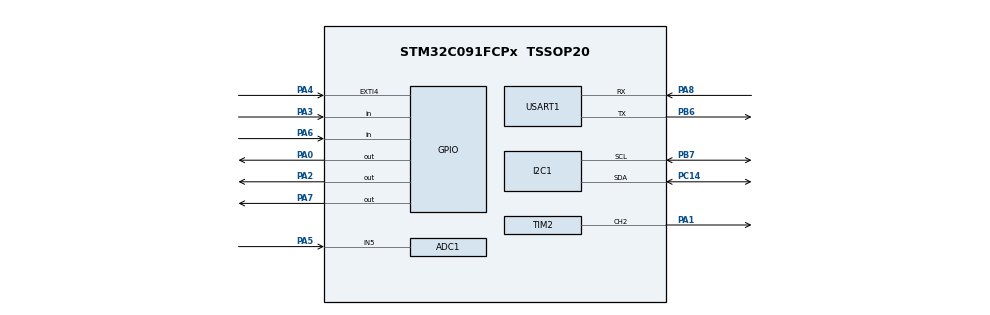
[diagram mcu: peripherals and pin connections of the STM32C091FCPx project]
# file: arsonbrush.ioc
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ADC1.NbrOfConversionFlag=0
ADC1.SelectedChannel=ADC_CHANNEL_5
ADC1.master=1
I2C1.Timing=0x00402D41
Mcu.Family=STM32C0
Mcu.Name=STM32C091FCPx
Mcu.Package=TSSOP20
PA0.Signal=GPIO_Output
PA1.Signal=S_TIM2_CH2
PA13.Mode=Serial_Wire
PA13.Signal=DEBUG_SWDIO
PA14-BOOT0.Mode=Serial_Wire
PA14-BOOT0.Signal=DEBUG_SWCLK
PA14-BOOT0__PA15.StandardMode=true
PA2.GPIO_PuPd=GPIO_PULLDOWN
PA2.Signal=GPIO_Output
PA3.Signal=GPIO_Input
PA4.Signal=GPXTI4
PA5.Mode=IN5
PA5.Signal=ADC1_IN5
PA6.Signal=GPIO_Input
PA7.Signal=GPIO_Output
PA8.Mode=Asynchronous
PA8.Signal=USART1_RX
PB0__PB1__PB2__PA8.StandardMode=true
PB3__PB4__PB5__PB6.StandardMode=true
PB6.Mode=Asynchronous
PB6.Signal=USART1_TX
PB7.Mode=I2C
PB7.Signal=I2C1_SCL
PB7__PB8.StandardMode=true
PC14-OSCX_IN(PC14).Mode=I2C
PC14-OSCX_IN(PC14).Signal=I2C1_SDA
ProjectManager.HeapSize=0x200
ProjectManager.StackSize=0x400
ProjectManager.TargetToolchain=Makefile
RCC.ADCFreq_Value=12000000
RCC.AHBFreq_Value=12000000
RCC.CortexFreq_Value=12000000
RCC.EXTERNAL_CLOCK_VALUE=12288000
RCC.HCLKFreq_Value=12000000
RCC.HSE_VALUE=8000000
RCC.HSISYSCLKDivider=RCC_HSI_DIV1
RCC.HSI_VALUE=48000000
RCC.LSE_VALUE=32768
RCC.SYSCLKFreq_VALUE=12000000
RCC.SYSDIV=RCC_SYSCLK_DIV4
SH.S_TIM2_CH2.0=TIM2_CH2,PWM Generation2 CH2
TIM2.Channel-PWM\ Generation2\ CH2=TIM_CHANNEL_2
USART1.VirtualMode-Asynchronous=VM_ASYNC
VP_FLASH_SIG_Activate_FlashIP.Mode=Activate_FlashIP
VP_TIM2_VS_ClockSourceINT.Mode=Internal
board=custom

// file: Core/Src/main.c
/* USER CODE BEGIN Header */
/**
  ******************************************************************************
  * @file           : main.c
  * @brief          : Main program body
  ******************************************************************************
  * @attention
  *
  * Copyright (c) 2025 STMicroelectronics.
  * All rights reserved.
  *
  * This software is licensed under terms that can be found in the LICENSE file
  * in the root directory of this software component.
  * If no LICENSE file comes with this software, it is provided AS-IS.
  *
  ******************************************************************************
  */
/* USER CODE END Header */
#include "main.h"

/* USER CODE BEGIN Includes */
#include <string.h>
/* USER CODE END Includes */

ADC_HandleTypeDef hadc1;

I2C_HandleTypeDef hi2c1;

TIM_HandleTypeDef htim2;

UART_HandleTypeDef huart1;

/* USER CODE BEGIN PV */
volatile uint8_t button_pressed = 0;
uint8_t system_state = 0; // 0: OFF, 1: ON
uint8_t rx_byte;
uint8_t rx_index = 0;
/* USER CODE END PV */

void SystemClock_Config(void);
static void MX_GPIO_Init(void);
static void MX_ADC1_Init(void);
static void MX_FLASH_Init(void);
static void MX_I2C1_Init(void);
static void MX_TIM2_Init(void);
static void MX_USART1_UART_Init(void);

/* USER CODE BEGIN 0 */
void HAL_GPIO_EXTI_Callback(uint16_t GPIO_Pin)
{
  if (GPIO_Pin == GPIO_PIN_4)
  {
    button_pressed = 1;
  }
}

void HAL_UART_RxCpltCallback(UART_HandleTypeDef *huart)
{
  if (huart->Instance == USART1)
  {
    if (rx_index == 0)
    {
      if (rx_byte == 'H')
      {
        rx_index = 1;
      }
    }
    else if (rx_index == 1)
    {
      if (rx_byte == 'i')
      {
        uint8_t msg[] = "Hello";
        HAL_UART_Transmit(&huart1, msg, 5, 100);
        rx_index = 0;
      }
      else if (rx_byte == 'H')
      {
        rx_index = 1;
      }
      else
      {
        rx_index = 0;
      }
    }
    HAL_UART_Receive_IT(&huart1, &rx_byte, 1);
  }
}
/* USER CODE END 0 */

int main(void)
{

  /* MCU Configuration--------------------------------------------------------*/

  /* Reset of all peripherals, Initializes the Flash interface and the Systick. */
  HAL_Init();

  /* Configure the system clock */
  SystemClock_Config();

  /* Initialize all configured peripherals */
  MX_GPIO_Init();
  MX_ADC1_Init();
  MX_FLASH_Init();
  MX_I2C1_Init();
  MX_TIM2_Init();
  MX_USART1_UART_Init();
  /* USER CODE BEGIN 2 */
  HAL_NVIC_SetPriority(USART1_IRQn, 1, 0);
  HAL_NVIC_EnableIRQ(USART1_IRQn);
  HAL_UART_Receive_IT(&huart1, &rx_byte, 1);

  // Calibrate ADC
  HAL_ADCEx_Calibration_Start(&hadc1);
  /* USER CODE END 2 */

  /* Infinite loop */
  /* USER CODE BEGIN WHILE */
  while (1)
  {
    if (button_pressed)
    {
      button_pressed = 0;

      if (system_state == 1)
      {
        // Go eep
        HAL_GPIO_WritePin(GPIOA, GPIO_PIN_7, GPIO_PIN_RESET);
        HAL_TIM_PWM_Stop(&htim2, TIM_CHANNEL_2);
        HAL_GPIO_WritePin(GPIOA, GPIO_PIN_0, GPIO_PIN_RESET);
        system_state = 0;
      }
      else
      {
        // slow adc read
        HAL_Delay(32);

        HAL_ADC_Start(&hadc1);
        if (HAL_ADC_PollForConversion(&hadc1, 100) == HAL_OK)
        {
          uint32_t adc_val = HAL_ADC_GetValue(&hadc1);
          HAL_ADC_Stop(&hadc1);

          // voltage divider: 470k + 330k = 800k total
          // V_adc = V_bat * 330k / 800k
          // V_bat = adc_val * 3.3V * 800k / (4095 * 330k)
          // V_bat = adc_val * 3300mV * 800 / (4095 * 330)
          uint32_t battery_mv = (adc_val * 3300 * 800) / (4095 * 330);

          if (battery_mv > 3400)
          {
            HAL_GPIO_WritePin(GPIOA, GPIO_PIN_7, GPIO_PIN_SET);

            // PWM 50% duty cycle 12MHz / 500 = 24kHz
            __HAL_TIM_SET_COMPARE(&htim2, TIM_CHANNEL_2, 250);
            HAL_TIM_PWM_Start(&htim2, TIM_CHANNEL_2);

            HAL_GPIO_WritePin(GPIOA, GPIO_PIN_0, GPIO_PIN_SET); // PA0
            system_state = 1;
          }
          else
          {
            for (int i = 0; i < 2; i++)
            {
              HAL_GPIO_WritePin(GPIOA, GPIO_PIN_7, GPIO_PIN_SET);
              HAL_Delay(500);
              HAL_GPIO_WritePin(GPIOA, GPIO_PIN_7, GPIO_PIN_RESET);
              HAL_Delay(500);
            }
            system_state = 0;
          }
        }
      }
    }

    if (system_state == 0)
    {
      HAL_SuspendTick();
      HAL_PWR_EnterSLEEPMode(PWR_MAINREGULATOR_ON, PWR_SLEEPENTRY_WFI);
      HAL_ResumeTick();
    }
    /* USER CODE END WHILE */

  }
}

void SystemClock_Config(void)
{
  RCC_OscInitTypeDef RCC_OscInitStruct = {0};
  RCC_ClkInitTypeDef RCC_ClkInitStruct = {0};

  __HAL_FLASH_SET_LATENCY(FLASH_LATENCY_0);

  /** Initializes the RCC Oscillators according to the specified parameters
  * in the RCC_OscInitTypeDef structure.
  */
  RCC_OscInitStruct.OscillatorType = RCC_OSCILLATORTYPE_HSI;
  RCC_OscInitStruct.HSIState = RCC_HSI_ON;
  RCC_OscInitStruct.HSIDiv = RCC_HSI_DIV1;
  RCC_OscInitStruct.HSICalibrationValue = RCC_HSICALIBRATION_DEFAULT;
  if (HAL_RCC_OscConfig(&RCC_OscInitStruct) != HAL_OK)
  {
    Error_Handler();
  }

  /** Initializes the CPU, AHB and APB buses clocks
  */
  RCC_ClkInitStruct.ClockType = RCC_CLOCKTYPE_HCLK|RCC_CLOCKTYPE_SYSCLK
                              |RCC_CLOCKTYPE_PCLK1;
  RCC_ClkInitStruct.SYSCLKSource = RCC_SYSCLKSOURCE_HSI;
  RCC_ClkInitStruct.SYSCLKDivider = RCC_SYSCLK_DIV4;
  RCC_ClkInitStruct.AHBCLKDivider = RCC_HCLK_DIV1;
  RCC_ClkInitStruct.APB1CLKDivider = RCC_APB1_DIV1;

  if (HAL_RCC_ClockConfig(&RCC_ClkInitStruct, FLASH_LATENCY_0) != HAL_OK)
  {
    Error_Handler();
  }
}

static void MX_ADC1_Init(void)
{

  ADC_ChannelConfTypeDef sConfig = {0};

  /** Configure the global features of the ADC (Clock, Resolution, Data Alignment and number of conversion)
  */
  hadc1.Instance = ADC1;
  hadc1.Init.ClockPrescaler = ADC_CLOCK_SYNC_PCLK_DIV2;
  hadc1.Init.Resolution = ADC_RESOLUTION_12B;
  hadc1.Init.DataAlign = ADC_DATAALIGN_RIGHT;
  hadc1.Init.ScanConvMode = ADC_SCAN_SEQ_FIXED;
  hadc1.Init.EOCSelection = ADC_EOC_SINGLE_CONV;
  hadc1.Init.LowPowerAutoWait = DISABLE;
  hadc1.Init.LowPowerAutoPowerOff = DISABLE;
  hadc1.Init.ContinuousConvMode = DISABLE;
  hadc1.Init.NbrOfConversion = 1;
  hadc1.Init.DiscontinuousConvMode = DISABLE;
  hadc1.Init.ExternalTrigConv = ADC_SOFTWARE_START;
  hadc1.Init.ExternalTrigConvEdge = ADC_EXTERNALTRIGCONVEDGE_NONE;
  hadc1.Init.DMAContinuousRequests = DISABLE;
  hadc1.Init.Overrun = ADC_OVR_DATA_PRESERVED;
  hadc1.Init.SamplingTimeCommon1 = ADC_SAMPLETIME_1CYCLE_5;
  hadc1.Init.OversamplingMode = DISABLE;
  hadc1.Init.TriggerFrequencyMode = ADC_TRIGGER_FREQ_HIGH;
  if (HAL_ADC_Init(&hadc1) != HAL_OK)
  {
    Error_Handler();
  }

  /** Configure Regular Channel
  */
  sConfig.Channel = ADC_CHANNEL_5;
  sConfig.Rank = ADC_RANK_CHANNEL_NUMBER;
  if (HAL_ADC_ConfigChannel(&hadc1, &sConfig) != HAL_OK)
  {
    Error_Handler();
  }

}

static void MX_FLASH_Init(void)
{

  if (HAL_FLASH_Unlock() != HAL_OK)
  {
    Error_Handler();
  }
  if (HAL_FLASH_Lock() != HAL_OK)
  {
    Error_Handler();
  }

}

static void MX_I2C1_Init(void)
{

  hi2c1.Instance = I2C1;
  hi2c1.Init.Timing = 0x00402D41;
  hi2c1.Init.OwnAddress1 = 0;
  hi2c1.Init.AddressingMode = I2C_ADDRESSINGMODE_7BIT;
  hi2c1.Init.DualAddressMode = I2C_DUALADDRESS_DISABLE;
  hi2c1.Init.OwnAddress2 = 0;
  hi2c1.Init.OwnAddress2Masks = I2C_OA2_NOMASK;
  hi2c1.Init.GeneralCallMode = I2C_GENERALCALL_DISABLE;
  hi2c1.Init.NoStretchMode = I2C_NOSTRETCH_DISABLE;
  if (HAL_I2C_Init(&hi2c1) != HAL_OK)
  {
    Error_Handler();
  }

  /** Configure Analogue filter
  */
  if (HAL_I2CEx_ConfigAnalogFilter(&hi2c1, I2C_ANALOGFILTER_ENABLE) != HAL_OK)
  {
    Error_Handler();
  }

  /** Configure Digital filter
  */
  if (HAL_I2CEx_ConfigDigitalFilter(&hi2c1, 0) != HAL_OK)
  {
    Error_Handler();
  }

}

static void MX_TIM2_Init(void)
{

  TIM_ClockConfigTypeDef sClockSourceConfig = {0};
  TIM_MasterConfigTypeDef sMasterConfig = {0};
  TIM_OC_InitTypeDef sConfigOC = {0};

  htim2.Instance = TIM2;
  htim2.Init.Prescaler = 0;
  htim2.Init.CounterMode = TIM_COUNTERMODE_UP;
  htim2.Init.Period = 499; // 24kHz
  htim2.Init.ClockDivision = TIM_CLOCKDIVISION_DIV1;
  htim2.Init.AutoReloadPreload = TIM_AUTORELOAD_PRELOAD_DISABLE;
  if (HAL_TIM_Base_Init(&htim2) != HAL_OK)
  {
    Error_Handler();
  }
  sClockSourceConfig.ClockSource = TIM_CLOCKSOURCE_INTERNAL;
  if (HAL_TIM_ConfigClockSource(&htim2, &sClockSourceConfig) != HAL_OK)
  {
    Error_Handler();
  }
  if (HAL_TIM_PWM_Init(&htim2) != HAL_OK)
  {
    Error_Handler();
  }
  sMasterConfig.MasterOutputTrigger = TIM_TRGO_RESET;
  sMasterConfig.MasterSlaveMode = TIM_MASTERSLAVEMODE_DISABLE;
  if (HAL_TIMEx_MasterConfigSynchronization(&htim2, &sMasterConfig) != HAL_OK)
  {
    Error_Handler();
  }
  sConfigOC.OCMode = TIM_OCMODE_PWM1;
  sConfigOC.Pulse = 250; // 50% duty cycle
  sConfigOC.OCPolarity = TIM_OCPOLARITY_HIGH;
  sConfigOC.OCFastMode = TIM_OCFAST_DISABLE;
  if (HAL_TIM_PWM_ConfigChannel(&htim2, &sConfigOC, TIM_CHANNEL_2) != HAL_OK)
  {
    Error_Handler();
  }
  HAL_TIM_MspPostInit(&htim2);

}

static void MX_USART1_UART_Init(void)
{

  huart1.Instance = USART1;
  huart1.Init.BaudRate = 115200;
  huart1.Init.WordLength = UART_WORDLENGTH_8B;
  huart1.Init.StopBits = UART_STOPBITS_1;
  huart1.Init.Parity = UART_PARITY_NONE;
  huart1.Init.Mode = UART_MODE_TX_RX;
  huart1.Init.HwFlowCtl = UART_HWCONTROL_NONE;
  huart1.Init.OverSampling = UART_OVERSAMPLING_16;
  huart1.Init.OneBitSampling = UART_ONE_BIT_SAMPLE_DISABLE;
  huart1.Init.ClockPrescaler = UART_PRESCALER_DIV1;
  huart1.AdvancedInit.AdvFeatureInit = UART_ADVFEATURE_NO_INIT;
  if (HAL_UART_Init(&huart1) != HAL_OK)
  {
    Error_Handler();
  }
  if (HAL_UARTEx_SetTxFifoThreshold(&huart1, UART_TXFIFO_THRESHOLD_1_8) != HAL_OK)
  {
    Error_Handler();
  }
  if (HAL_UARTEx_SetRxFifoThreshold(&huart1, UART_RXFIFO_THRESHOLD_1_8) != HAL_OK)
  {
    Error_Handler();
  }
  if (HAL_UARTEx_DisableFifoMode(&huart1) != HAL_OK)
  {
    Error_Handler();
  }

}

static void MX_GPIO_Init(void)
{
  GPIO_InitTypeDef GPIO_InitStruct = {0};

  /* GPIO Ports Clock Enable */
  __HAL_RCC_GPIOB_CLK_ENABLE();
  __HAL_RCC_GPIOC_CLK_ENABLE();
  __HAL_RCC_GPIOA_CLK_ENABLE();

  /*Configure GPIO pin Output Level */
  HAL_GPIO_WritePin(GPIOA, GPIO_PIN_0|GPIO_PIN_2|GPIO_PIN_7, GPIO_PIN_RESET);

  /*Configure GPIO pins : PA0 PA7 */
  GPIO_InitStruct.Pin = GPIO_PIN_0|GPIO_PIN_7;
  GPIO_InitStruct.Mode = GPIO_MODE_OUTPUT_PP;
  GPIO_InitStruct.Pull = GPIO_NOPULL;
  GPIO_InitStruct.Speed = GPIO_SPEED_FREQ_LOW;
  HAL_GPIO_Init(GPIOA, &GPIO_InitStruct);

  /*Configure GPIO pin : PA2 */
  GPIO_InitStruct.Pin = GPIO_PIN_2;
  GPIO_InitStruct.Mode = GPIO_MODE_OUTPUT_PP;
  GPIO_InitStruct.Pull = GPIO_PULLDOWN;
  GPIO_InitStruct.Speed = GPIO_SPEED_FREQ_LOW;
  HAL_GPIO_Init(GPIOA, &GPIO_InitStruct);

  /*Configure GPIO pins : PA3 PA6 */
  GPIO_InitStruct.Pin = GPIO_PIN_3|GPIO_PIN_6;
  GPIO_InitStruct.Mode = GPIO_MODE_INPUT;
  GPIO_InitStruct.Pull = GPIO_NOPULL;
  HAL_GPIO_Init(GPIOA, &GPIO_InitStruct);

  /*Configure GPIO pin : PA4 */
  GPIO_InitStruct.Pin = GPIO_PIN_4;
  GPIO_InitStruct.Mode = GPIO_MODE_IT_FALLING; // Wake on falling edge (pulled down)
  GPIO_InitStruct.Pull = GPIO_PULLUP; // Internal pull-up to detect pull-down
  HAL_GPIO_Init(GPIOA, &GPIO_InitStruct);

  /* USER CODE BEGIN MX_GPIO_Init_2 */
  /* Enable and set EXTI line 4 Interrupt */
  HAL_NVIC_SetPriority(EXTI4_15_IRQn, 3, 0);
  HAL_NVIC_EnableIRQ(EXTI4_15_IRQn);
  /* USER CODE END MX_GPIO_Init_2 */
}

void Error_Handler(void)
{
  __disable_irq();
  while (1)
  {
  }
}
